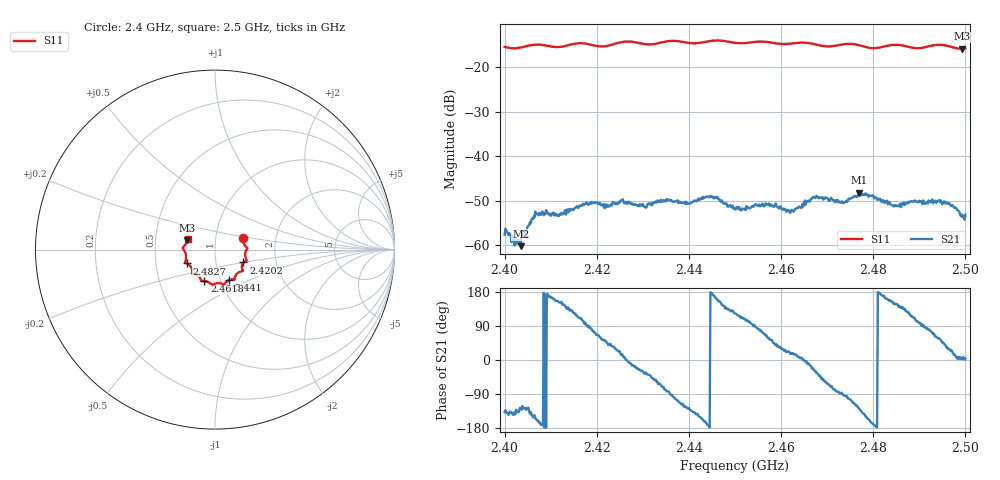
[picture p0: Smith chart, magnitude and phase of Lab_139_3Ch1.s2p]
# Hz S RI R 50
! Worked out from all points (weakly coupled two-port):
!   601 points, 2.4 GHz to 2.5 GHz, reference 50 ohm
!   highest |S21| = -48.19 dB at 2.4768 GHz (marker M1); lowest = -60.2 dB at 2.4035 GHz (marker M2)
!   lowest |S11| = -15.8 dB at 2.4993 GHz (marker M3), VSWR 1.39, Z = 36.5 + j3.83 ohm
!   |S11| at or under -10 dB: start of sweep to end of sweep
!   S12 and S22 are empty: the file has one direction only
!   S11 on the Smith chart (normalised r, x): 2.4 GHz: 1.36, +0.18; 2.4202 GHz: 1.36, -0.20; 2.441 GHz: 1.10, -0.39; 2.4618 GHz: 0.84, -0.30; 2.4827 GHz: 0.72, -0.12; 2.5 GHz: 0.73, +0.09
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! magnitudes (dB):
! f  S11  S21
! 2.4 GHz  -15.4  -57.7
! 2.4035 GHz  -15.5  -60.2
! 2.4072 GHz  -14.8  -52.9
! 2.4115 GHz  -15.4  -53.3
! 2.4167 GHz  -14.5  -51.1
! 2.4202 GHz  -15.2  -50.5
! 2.4303 GHz  -14.7  -51.2
! 2.4333 GHz  -14.5  -50.2
! 2.441 GHz  -14.6  -50.2
! 2.4457 GHz  -13.9  -49.4
! 2.45 GHz  -14.4  -51.9
! 2.4572 GHz  -14.3  -50.9
! 2.4618 GHz  -14.6  -52.6
! 2.4667 GHz  -14.6  -49.5
! 2.4733 GHz  -14.8  -50.5
! 2.4768 GHz  -15.0  -48.2
! 2.4827 GHz  -15.2  -50.1
! 2.4833 GHz  -15.0  -50.5
! 2.4943 GHz  -14.9  -49.9
! 2.4968 GHz  -15.3  -51.1
! 2.4993 GHz  -15.8  -53.7
! 2.5 GHz  -15.7  -53.1
